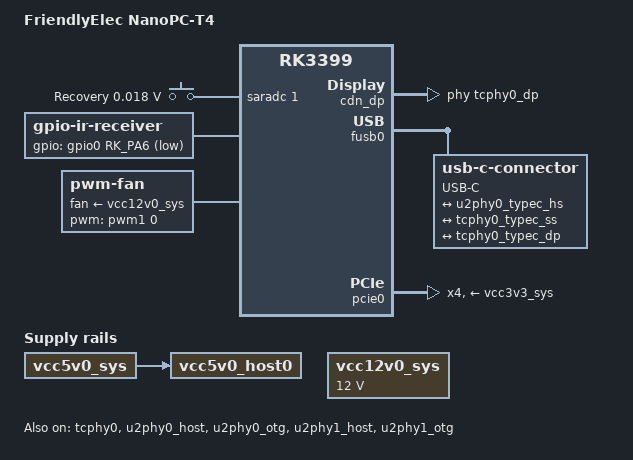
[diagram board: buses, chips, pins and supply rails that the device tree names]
// SPDX-License-Identifier: (GPL-2.0+ OR MIT)
/*
 * FriendlyElec NanoPC-T4 board device tree source
 *
 * Copyright (c) 2018 FriendlyElec Computer Tech. Co., Ltd.
 * (http://www.friendlyarm.com)
 *
 * Copyright (c) 2018 Collabora Ltd.
 */

/dts-v1/;
#include <dt-bindings/usb/pd.h>
#include "rk3399-nanopi4.dtsi"

/ {
	model = "FriendlyElec NanoPC-T4";
	compatible = "friendlyarm,nanopc-t4", "rockchip,rk3399";

	vcc12v0_sys: vcc12v0-sys {
		compatible = "regulator-fixed";
		regulator-always-on;
		regulator-boot-on;
		regulator-max-microvolt = <12000000>;
		regulator-min-microvolt = <12000000>;
		regulator-name = "vcc12v0_sys";
	};

	vcc5v0_host0: vcc5v0-host0 {
		compatible = "regulator-fixed";
		regulator-always-on;
		regulator-boot-on;
		regulator-name = "vcc5v0_host0";
		vin-supply = <&vcc5v0_sys>;
	};

	adc-keys {
		compatible = "adc-keys";
		io-channels = <&saradc 1>;
		io-channel-names = "buttons";
		keyup-threshold-microvolt = <1800000>;
		poll-interval = <100>;

		button-recovery {
			label = "Recovery";
			linux,code = <KEY_VENDOR>;
			press-threshold-microvolt = <18000>;
		};
	};

	ir-receiver {
		compatible = "gpio-ir-receiver";
		gpios = <&gpio0 RK_PA6 GPIO_ACTIVE_LOW>;
		pinctrl-names = "default";
		pinctrl-0 = <&ir_rx>;
	};

	fan: pwm-fan {
		compatible = "pwm-fan";
		/*
		 * With 20KHz PWM and an EVERCOOL EC4007H12SA fan, these levels
		 * work out to 0, ~1200, ~3000, and 5000RPM respectively.
		 */
		cooling-levels = <0 12 18 255>;
		#cooling-cells = <2>;
		fan-supply = <&vcc12v0_sys>;
		pwms = <&pwm1 0 50000 0>;
	};
};

&cdn_dp {
	status = "okay";
	extcon = <&fusb0>;
	phys = <&tcphy0_dp>;
};

&cpu_thermal {
	trips {
		cpu_warm: cpu_warm {
			temperature = <55000>;
			hysteresis = <2000>;
			type = "active";
		};

		cpu_hot: cpu_hot {
			temperature = <65000>;
			hysteresis = <2000>;
			type = "active";
		};
	};

	cooling-maps {
		map2 {
			trip = <&cpu_warm>;
			cooling-device = <&fan THERMAL_NO_LIMIT 1>;
		};

		map3 {
			trip = <&cpu_hot>;
			cooling-device = <&fan 2 THERMAL_NO_LIMIT>;
		};
	};
};

&fusb0 {

	connector {
		compatible = "usb-c-connector";
		label = "USB-C";
		power-role = "dual";
		data-role = "dual";
		try-power-role = "sink";
		source-pdos = <PDO_FIXED(5000, 1200, PDO_FIXED_USB_COMM)>;
		sink-pdos = <PDO_FIXED(5000, 500, PDO_FIXED_USB_COMM)>;
		op-sink-microwatt = <5000000>;
		
		extcon-cables = <1 2 5 6 9 10 12 44>;
		typec-altmodes = <0xff01 1 0x001c0000 1>;
		
		ports {
			#address-cells = <1>;
			#size-cells = <0>;
			port@0 {
				reg = <0>;
				usb_con_hs: endpoint {
					remote-endpoint = 
						<&u2phy0_typec_hs>;
				};
			};
			port@1 {
				reg = <1>;

				usb_con_ss: endpoint {
					remote-endpoint = 
						<&tcphy0_typec_ss>;
				};
			};
			port@2 {
				reg = <2>;
				usb_con_dp: endpoint {
					remote-endpoint = 
						<&tcphy0_typec_dp>;
				};
			};
		};
	};		
};

&pcie0 {
	ep-gpios = <&gpio2 RK_PA4 GPIO_ACTIVE_HIGH>;
	num-lanes = <4>;
	vpcie3v3-supply = <&vcc3v3_sys>;
};

&pinctrl {
	ir {
		ir_rx: ir-rx {
			/* external pullup to VCC3V3_SYS, despite being 1.8V :/ */
			rockchip,pins = <0 RK_PA6 1 &pcfg_pull_none>;
		};
	};
};

&sdhci {
	mmc-hs400-1_8v;
	mmc-hs400-enhanced-strobe;
};

&tcphy0 {
	extcon = <&fusb0>;
	status = "okay";
};

&tcphy0_dp {
	port {
		tcphy0_typec_dp: endpoint {
			remote-endpoint = <&usb_con_dp>;
		};
	};
};

&tcphy0_usb3 {
	port {
		tcphy0_typec_ss: endpoint {
			remote-endpoint = <&usb_con_ss>;
		};
	};
};

&u2phy0 {
	extcon = <&fusb0>;
};

&u2phy0_host {
	phy-supply = <&vcc5v0_host0>;
	status = "okay";
};

&u2phy0_otg {
	status = "okay";

	port {
		u2phy0_typec_hs: endpoint {
			remote-endpoint = <&usb_con_hs>;
		};
	};
};

&u2phy1_host {
	phy-supply = <&vcc5v0_host0>;
	status = "okay";
};

&u2phy1_otg {
	status = "okay";
};

&usbdrd_dwc3_0 {
	extcon = <&fusb0>;
};

&vcc5v0_sys {
	vin-supply = <&vcc12v0_sys>;
};

&vcc3v3_sys {
	vin-supply = <&vcc12v0_sys>;
};

&vbus_typec {
	enable-active-high;
	gpios = <&gpio4 RK_PD2 GPIO_ACTIVE_HIGH>;
	vin-supply = <&vcc5v0_sys>;
};
